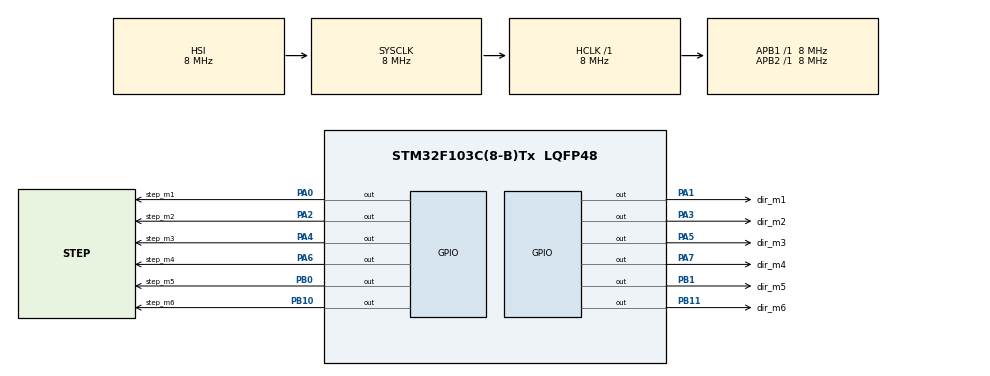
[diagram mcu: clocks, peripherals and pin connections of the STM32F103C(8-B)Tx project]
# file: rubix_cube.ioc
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Mcu.Family=STM32F1
Mcu.Name=STM32F103C(8-B)Tx
Mcu.Package=LQFP48
NVIC.PriorityGroup=NVIC_PRIORITYGROUP_4
PA0-WKUP.GPIO_Label=step_m1
PA0-WKUP.Signal=GPIO_Output
PA1.GPIO_Label=dir_m1
PA1.Signal=GPIO_Output
PA2.GPIO_Label=step_m2
PA2.Signal=GPIO_Output
PA3.GPIO_Label=dir_m2
PA3.Signal=GPIO_Output
PA4.GPIO_Label=step_m3
PA4.Signal=GPIO_Output
PA5.GPIO_Label=dir_m3
PA5.Signal=GPIO_Output
PA6.GPIO_Label=step_m4
PA6.Signal=GPIO_Output
PA7.GPIO_Label=dir_m4
PA7.Signal=GPIO_Output
PB0.GPIO_Label=step_m5
PB0.Signal=GPIO_Output
PB1.GPIO_Label=dir_m5
PB1.Signal=GPIO_Output
PB10.GPIO_Label=step_m6
PB10.Signal=GPIO_Output
PB11.GPIO_Label=dir_m6
PB11.Signal=GPIO_Output
PD0-OSC_IN.Mode=HSE-External-Oscillator
PD0-OSC_IN.Signal=RCC_OSC_IN
PD1-OSC_OUT.Mode=HSE-External-Oscillator
PD1-OSC_OUT.Signal=RCC_OSC_OUT
ProjectManager.HeapSize=0x200
ProjectManager.StackSize=0x400
ProjectManager.TargetToolchain=STM32CubeIDE
RCC.AHBFreq_Value=8000000
RCC.APB1Freq_Value=8000000
RCC.APB1TimFreq_Value=8000000
RCC.APB2Freq_Value=8000000
RCC.APB2TimCLKDivider=1
RCC.APB2TimFreq_Value=8000000
RCC.HCLKFreq_Value=8000000
RCC.SYSCLKFreq_VALUE=8000000
RCC.USBFreq_Value=8000000
TIM1.Period=0xffff-1
TIM1.Prescaler=8-1
VP_SYS_VS_ND.Mode=No_Debug
VP_TIM1_VS_ClockSourceINT.Mode=Internal
board=custom

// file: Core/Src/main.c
/* USER CODE BEGIN Header */
/**
  ******************************************************************************
  * @file           : main.c
  * @brief          : Main program body
  ******************************************************************************
  * @attention
  *
  * Copyright (c) 2026 STMicroelectronics.
  * All rights reserved.
  *
  * This software is licensed under terms that can be found in the LICENSE file
  * in the root directory of this software component.
  * If no LICENSE file comes with this software, it is provided AS-IS.
  *
  ******************************************************************************
  */
/* USER CODE END Header */
#include "main.h"

/* USER CODE BEGIN Includes */
#include <stdio.h>
TIM_HandleTypeDef htim1;

void delay(uint16_t delay);
/* USER CODE END Includes */

/* USER CODE BEGIN PD */
void delay(uint16_t delay)
{
	__HAL_TIM_SET_COUNTER(&htim1,0);
	while(__HAL_TIM_GET_COUNTER(&htim1)<delay);
}

void clockwise(uint32_t rotation,GPIO_TypeDef *DIR_PORT, uint16_t DIR_PIN,
        GPIO_TypeDef *STEP_PORT, uint16_t STEP_PIN)
{
	HAL_GPIO_WritePin(DIR_PORT,DIR_PIN,GPIO_PIN_SET);
	int steps=rotation*800;
	for (int i = 0; i < steps; i++)
	    {
	        HAL_GPIO_WritePin(STEP_PORT, STEP_PIN, GPIO_PIN_SET);
	        delay(1000);

	        HAL_GPIO_WritePin(STEP_PORT, STEP_PIN, GPIO_PIN_RESET);
	        delay(1000);
	    }

}

void anticlockwise(uint32_t rotation,GPIO_TypeDef *DIR_PORT, uint16_t DIR_PIN,
        GPIO_TypeDef *STEP_PORT, uint16_t STEP_PIN)
{
	HAL_GPIO_WritePin(DIR_PORT,DIR_PIN,GPIO_PIN_RESET);
	int steps=rotation*800;
	for (int i = 0; i < steps; i++)
	    {
	        HAL_GPIO_WritePin(STEP_PORT, STEP_PIN, GPIO_PIN_SET);
	        delay(1000);

	        HAL_GPIO_WritePin(STEP_PORT, STEP_PIN, GPIO_PIN_RESET);
	        delay(1000);
	    }

}
uint32_t  random()
{
	return (HAL_GetTick() % 18) + 1;
}
/* M1 → U
M2 → R
M3 → F
M4 → D
M5 → L
M6 → B*/
void U()
{

	clockwise(1,GPIOA,dir_m1_Pin,GPIOA,step_m1_Pin);
	printf("U ");
}
void U2()
{

	clockwise(2,GPIOA,dir_m1_Pin,GPIOA,step_m1_Pin);
	printf("U2 ");
}
void U_INVERSE()
{

	anticlockwise(1,GPIOA,dir_m1_Pin,GPIOA,step_m1_Pin);
	printf("U' ");
}

void R()
{

	clockwise(1,GPIOA,dir_m2_Pin,GPIOA,step_m2_Pin);
	printf("R ");
}
void R2()
{

	clockwise(2,GPIOA,dir_m2_Pin,GPIOA,step_m2_Pin);
	printf("R2 ");
}
void R_INVERSE()
{

	anticlockwise(1,GPIOA,dir_m2_Pin,GPIOA,step_m2_Pin);
	printf("R' ");
}

void F()
{

	clockwise(1,GPIOA,dir_m3_Pin,GPIOA,step_m3_Pin);
	printf("F ");
}
void F2()
{

	clockwise(2,GPIOA,dir_m3_Pin,GPIOA,step_m3_Pin);
	printf("F2 ");
}
void F_INVERSE()
{

	anticlockwise(1,GPIOA,dir_m3_Pin,GPIOA,step_m3_Pin);
	printf("F' ");
}

void D()
{

	clockwise(1,GPIOA,dir_m4_Pin,GPIOA,step_m4_Pin);
	printf("D ");
}
void D2()
{

	clockwise(2,GPIOA,dir_m4_Pin,GPIOA,step_m4_Pin);
	printf("D2 ");
}
void D_INVERSE()
{

	anticlockwise(1,GPIOA,dir_m4_Pin,GPIOA,step_m4_Pin);
	printf("D' ");
}

void L()
{

	clockwise(1,GPIOB,dir_m5_Pin,GPIOB,step_m5_Pin);
	printf("L ");
}
void L2()
{

	clockwise(2,GPIOB,dir_m5_Pin,GPIOB,step_m5_Pin);
	printf("L2 ");
}
void L_INVERSE()
{

	anticlockwise(1,GPIOB,dir_m5_Pin,GPIOB,step_m5_Pin);
	printf("L' ");
}

void B()
{

	clockwise(1,GPIOB,dir_m6_Pin,GPIOB,step_m6_Pin);
	printf("B ");
}
void B2()
{

	clockwise(2,GPIOB,dir_m6_Pin,GPIOB,step_m6_Pin);
	printf("B2 ");
}
void B_INVERSE()
{

	anticlockwise(1,GPIOB,dir_m6_Pin,GPIOB,step_m6_Pin);
	printf("B' ");
}
/* USER CODE END PD */

void SystemClock_Config(void);
static void MX_GPIO_Init(void);
static void MX_TIM1_Init(void);

int main(void)
{

  /* MCU Configuration--------------------------------------------------------*/

  /* Reset of all peripherals, Initializes the Flash interface and the Systick. */
  HAL_Init();

  /* Configure the system clock */
  SystemClock_Config();

  /* USER CODE BEGIN SysInit */
  /* USER CODE BEGIN 2 */
  MX_GPIO_Init();
  MX_TIM1_Init();
  HAL_TIM_Base_Start(&htim1);

  	for (uint32_t i=0;i<20;i++)
  	{
  		uint32_t a=random();
  		switch (a)
  		{
  		//for upper moves
  		    case 1:
  		        U();
  		        break;

  		    case 2:
  		        U2();
  		        break;

  		    case 3:
  		        U_INVERSE();
  		        break;
  		        //for right moves

  		    case 4:
  		    	R();
  		        break;

  		    case 5:
  		    	R2();
  		    	break;

  		    case 6:
  		    	R_INVERSE();
  		    	break;

  		    	//for FRONT moves
  		    case 7:
  		        F();
  		        break;

  		    case 8:
  		        F2();
  		        break;

  		    case 9:
  		        F_INVERSE();
  		        break;

  		        //for DOWN moves
  		    case 10:
  		    	D();
  		        break;

  		    case 11:
  		    	D2();
  		    	break;

  		    case 12:
  		    	D_INVERSE();
  		    	break;

  		    	//for LEFT moves
  		    case 13:
  		    	L();
  		    	break;
  		    case 14:
  		        L2();
  		        break;

  		    case 15:
  		        L_INVERSE();
  		        break;

  		        //BACK MOVES
  		    case 16:
  		    	B();
  		    	break;
  		    case 17:
   		        B2();
  		        break;
  	   	    case 18:
   		        B_INVERSE();
  		         break;

  		    default:
  		        break;
  		}
  	}

  /* USER CODE END 2 */
  /* USER CODE END SysInit */

  /* Initialize all configured peripherals */

  /* Infinite loop */
  /* USER CODE BEGIN WHILE */
  while (1)
      {
          HAL_GPIO_TogglePin(GPIOA, GPIO_PIN_1);
          delay(500);
      }
    /* USER CODE END WHILE */

}

void SystemClock_Config(void)
{
  RCC_OscInitTypeDef RCC_OscInitStruct = {0};
  RCC_ClkInitTypeDef RCC_ClkInitStruct = {0};

  /** Initializes the RCC Oscillators according to the specified parameters
  * in the RCC_OscInitTypeDef structure.
  */
  RCC_OscInitStruct.OscillatorType = RCC_OSCILLATORTYPE_HSI;
  RCC_OscInitStruct.HSIState = RCC_HSI_ON;
  RCC_OscInitStruct.HSICalibrationValue = RCC_HSICALIBRATION_DEFAULT;
  RCC_OscInitStruct.PLL.PLLState = RCC_PLL_NONE;
  if (HAL_RCC_OscConfig(&RCC_OscInitStruct) != HAL_OK)
  {
    Error_Handler();
  }

  /** Initializes the CPU, AHB and APB buses clocks
  */
  RCC_ClkInitStruct.ClockType = RCC_CLOCKTYPE_HCLK|RCC_CLOCKTYPE_SYSCLK
                              |RCC_CLOCKTYPE_PCLK1|RCC_CLOCKTYPE_PCLK2;
  RCC_ClkInitStruct.SYSCLKSource = RCC_SYSCLKSOURCE_HSI;
  RCC_ClkInitStruct.AHBCLKDivider = RCC_SYSCLK_DIV1;
  RCC_ClkInitStruct.APB1CLKDivider = RCC_HCLK_DIV1;
  RCC_ClkInitStruct.APB2CLKDivider = RCC_HCLK_DIV1;

  if (HAL_RCC_ClockConfig(&RCC_ClkInitStruct, FLASH_LATENCY_0) != HAL_OK)
  {
    Error_Handler();
  }
}

static void MX_TIM1_Init(void)
{

  TIM_ClockConfigTypeDef sClockSourceConfig = {0};
  TIM_MasterConfigTypeDef sMasterConfig = {0};

  htim1.Instance = TIM1;
  htim1.Init.Prescaler = 8-1;
  htim1.Init.CounterMode = TIM_COUNTERMODE_UP;
  htim1.Init.Period = 0xffff-1;
  htim1.Init.ClockDivision = TIM_CLOCKDIVISION_DIV1;
  htim1.Init.RepetitionCounter = 0;
  htim1.Init.AutoReloadPreload = TIM_AUTORELOAD_PRELOAD_DISABLE;
  if (HAL_TIM_Base_Init(&htim1) != HAL_OK)
  {
    Error_Handler();
  }
  sClockSourceConfig.ClockSource = TIM_CLOCKSOURCE_INTERNAL;
  if (HAL_TIM_ConfigClockSource(&htim1, &sClockSourceConfig) != HAL_OK)
  {
    Error_Handler();
  }
  sMasterConfig.MasterOutputTrigger = TIM_TRGO_RESET;
  sMasterConfig.MasterSlaveMode = TIM_MASTERSLAVEMODE_DISABLE;
  if (HAL_TIMEx_MasterConfigSynchronization(&htim1, &sMasterConfig) != HAL_OK)
  {
    Error_Handler();
  }

}

static void MX_GPIO_Init(void)
{
  GPIO_InitTypeDef GPIO_InitStruct = {0};

  /* GPIO Ports Clock Enable */
  __HAL_RCC_GPIOD_CLK_ENABLE();
  __HAL_RCC_GPIOA_CLK_ENABLE();
  __HAL_RCC_GPIOB_CLK_ENABLE();

  /*Configure GPIO pin Output Level */
  HAL_GPIO_WritePin(GPIOA, step_m1_Pin|dir_m1_Pin|step_m2_Pin|dir_m2_Pin
                          |step_m3_Pin|dir_m3_Pin|step_m4_Pin|dir_m4_Pin, GPIO_PIN_RESET);

  /*Configure GPIO pin Output Level */
  HAL_GPIO_WritePin(GPIOB, step_m5_Pin|dir_m5_Pin|step_m6_Pin|dir_m6_Pin, GPIO_PIN_RESET);

  /*Configure GPIO pins : step_m1_Pin dir_m1_Pin step_m2_Pin dir_m2_Pin
                           step_m3_Pin dir_m3_Pin step_m4_Pin dir_m4_Pin */
  GPIO_InitStruct.Pin = step_m1_Pin|dir_m1_Pin|step_m2_Pin|dir_m2_Pin
                          |step_m3_Pin|dir_m3_Pin|step_m4_Pin|dir_m4_Pin;
  GPIO_InitStruct.Mode = GPIO_MODE_OUTPUT_PP;
  GPIO_InitStruct.Pull = GPIO_NOPULL;
  GPIO_InitStruct.Speed = GPIO_SPEED_FREQ_LOW;
  HAL_GPIO_Init(GPIOA, &GPIO_InitStruct);

  /*Configure GPIO pins : step_m5_Pin dir_m5_Pin step_m6_Pin dir_m6_Pin */
  GPIO_InitStruct.Pin = step_m5_Pin|dir_m5_Pin|step_m6_Pin|dir_m6_Pin;
  GPIO_InitStruct.Mode = GPIO_MODE_OUTPUT_PP;
  GPIO_InitStruct.Pull = GPIO_NOPULL;
  GPIO_InitStruct.Speed = GPIO_SPEED_FREQ_LOW;
  HAL_GPIO_Init(GPIOB, &GPIO_InitStruct);

}

void Error_Handler(void)
{
  __disable_irq();
  while (1)
  {
  }
}
